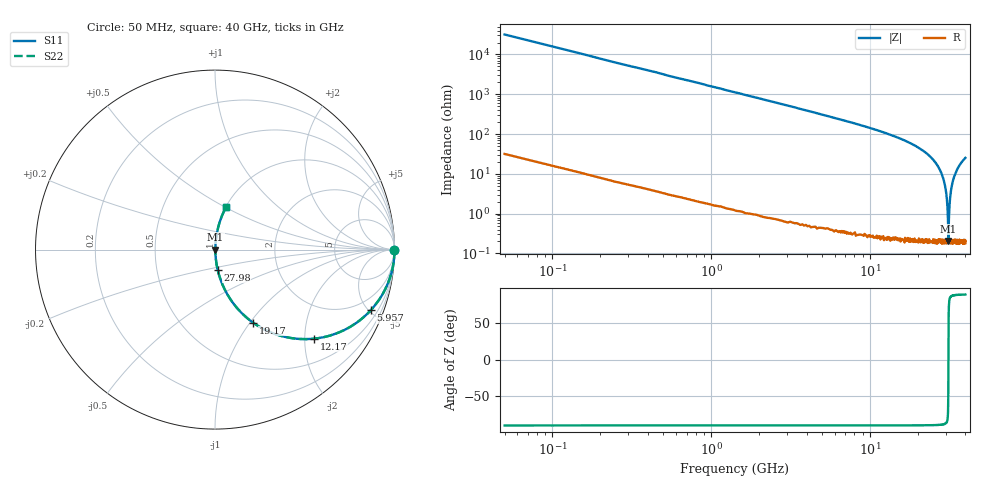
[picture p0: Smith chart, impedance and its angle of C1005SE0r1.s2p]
!	AVX	Thin	Film	Operation
!	Date:	March 2012
!	Description: Ultra-Miniature 01005 Size ACCU - P® Thin Film RF / Microwave Capacitor
!	Part Number:  C005YJ0R1ABSTR
!	Serial	Measurements
# MHZ S MA R 50
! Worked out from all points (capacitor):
!   400 points, 50 MHz to 40 GHz, reference 50 ohm
!   read as one part in series: C = 99.9 fF near 250.3 MHz
!   lowest |Z| = 207 mohm at 31.29 GHz (marker M1)
!   series resonance near 31.27 GHz, so ESL is about 260 pH
!   S11 on the Smith chart (normalised r, x): 50 MHz: open; 5.957 GHz: 1.00, -5.15; 12.17 GHz: 1.01, -2.22; 19.17 GHz: 1.00, -1.04; 27.98 GHz: 1.00, -0.23; 40 GHz: 1.00, +0.51
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50  1 -0.2  0.003142 89.8  0.003142 89.8  1 -0.2
150.125  1 -0.5  0.009432 89.4  0.009432 89.4  1 -0.5
350.376  1 -1.3  0.022 88.7  0.022 88.7  1 -1.3
1251.504  0.997 -4.5  0.079 85.4  0.079 85.4  0.997 -4.5
2953.634  0.983 -10.6  0.184 79.3  0.184 79.3  0.983 -10.6
5957.393  0.932 -21.2  0.362 68.7  0.362 68.7  0.932 -21.2
6758.396  0.913 -24.0  0.407 65.9  0.407 65.9  0.913 -24.0
12165.16  0.742 -42.0  0.668 47.9  0.668 47.9  0.742 -42.0
13366.67  0.697 -45.7  0.716 44.2  0.716 44.2  0.697 -45.7
19173.94  0.459 -62.4  0.886 27.3  0.886 27.3  0.459 -62.4
20075.06  0.422 -64.8  0.905 24.9  0.905 24.9  0.422 -64.8
26783.46  0.156 -80.3  0.986 9.0  0.986 9.0  0.156 -80.3
27984.96  0.112 -82.5  0.992 6.5  0.992 6.5  0.112 -82.5
29486.84  0.06 -84.7  0.996 3.4  0.996 3.4  0.06 -84.7
30488.1  0.026 -84.1  0.998 1.5  0.998 1.5  0.026 -84.1
30988.72  0.009489 -77.3  0.998 0.5  0.998 0.5  0.009489 -77.3
31289.1  0.002061 14.6  0.998 -0.0  0.998 -0.0  0.002061 14.6
31489.35  0.00728 73.7  0.998 -0.4  0.998 -0.4  0.00728 73.7
31789.72  0.017 82.2  0.998 -1.0  0.998 -1.0  0.017 82.2
33391.73  0.067 84.5  0.996 -3.8  0.996 -3.8  0.067 84.5
36095.11  0.145 80.9  0.988 -8.3  0.988 -8.3  0.145 80.9
40000  0.245 75.4  0.968 -14.2  0.968 -14.2  0.245 75.4
